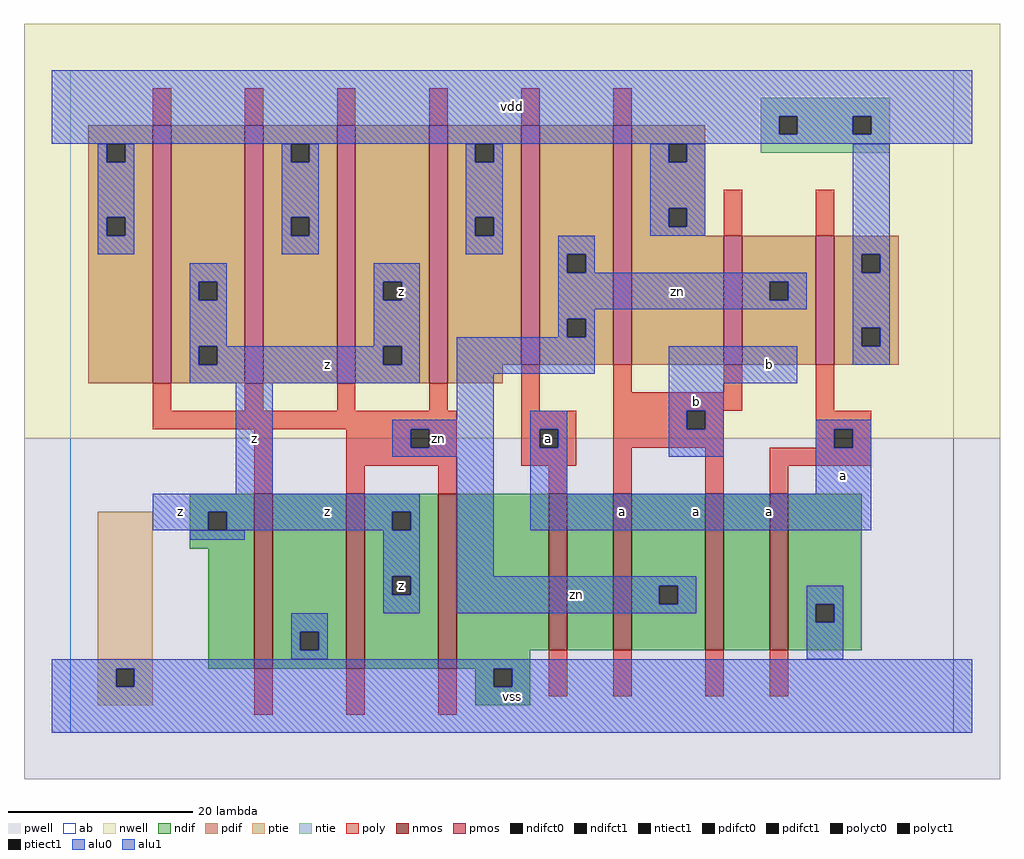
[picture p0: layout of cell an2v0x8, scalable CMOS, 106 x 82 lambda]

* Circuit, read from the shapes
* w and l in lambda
.subckt an2v0x8 a b vdd vss z zn
M1 vss zn z vss nfet w=19 l=2 m=3
M2 n1 a vss vss nfet w=17 l=2
M3 zn b n1 vss nfet w=17 l=2
M4 n2 b zn vss nfet w=17 l=2
M5 vss a n2 vss nfet w=17 l=2
M6 z zn vdd vdd pfet w=28 l=2 m=4
M7 zn a vdd vdd pfet w=26 l=2
M8 vdd b zn vdd pfet w=26 l=2
M9 zn b vdd vdd pfet w=14 l=2
M10 vdd a zn vdd pfet w=14 l=2
.ends

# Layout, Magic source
magic
tech scmos
<< ab >>
rect 0 0 96 72
<< nwell >>
rect -5 32 101 77
<< pwell >>
rect -5 -5 101 32
<< poly >>
rect 9 66 11 70
rect 19 66 21 70
rect 29 66 31 70
rect 39 66 41 70
rect 49 66 51 70
rect 59 66 61 70
rect 71 54 73 59
rect 81 54 83 59
rect 9 35 11 38
rect 19 35 21 38
rect 29 35 31 38
rect 39 35 41 38
rect 49 35 51 40
rect 59 37 61 40
rect 71 37 73 40
rect 59 35 73 37
rect 81 35 83 40
rect 9 33 42 35
rect 20 26 22 33
rect 30 31 37 33
rect 39 31 42 33
rect 30 29 42 31
rect 49 33 55 35
rect 49 31 51 33
rect 53 31 55 33
rect 49 29 55 31
rect 59 33 67 35
rect 69 33 71 35
rect 59 31 71 33
rect 81 33 87 35
rect 81 31 83 33
rect 85 31 87 33
rect 30 26 32 29
rect 40 26 42 29
rect 52 26 54 29
rect 59 26 61 31
rect 69 26 71 31
rect 76 29 87 31
rect 76 26 78 29
rect 20 2 22 7
rect 30 2 32 7
rect 40 2 42 7
rect 52 4 54 9
rect 59 4 61 9
rect 69 4 71 9
rect 76 4 78 9
<< ndif >>
rect 13 24 20 26
rect 13 22 15 24
rect 17 22 20 24
rect 13 20 20 22
rect 15 7 20 20
rect 22 11 30 26
rect 22 9 25 11
rect 27 9 30 11
rect 22 7 30 9
rect 32 24 40 26
rect 32 22 35 24
rect 37 22 40 24
rect 32 17 40 22
rect 32 15 35 17
rect 37 15 40 17
rect 32 7 40 15
rect 42 9 52 26
rect 54 9 59 26
rect 61 16 69 26
rect 61 14 64 16
rect 66 14 69 16
rect 61 9 69 14
rect 71 9 76 26
rect 78 14 86 26
rect 78 12 81 14
rect 83 12 86 14
rect 78 9 86 12
rect 42 7 50 9
rect 44 5 46 7
rect 48 5 50 7
rect 44 3 50 5
<< pdif >>
rect 2 64 9 66
rect 2 62 4 64
rect 6 62 9 64
rect 2 56 9 62
rect 2 54 4 56
rect 6 54 9 56
rect 2 38 9 54
rect 11 49 19 66
rect 11 47 14 49
rect 16 47 19 49
rect 11 42 19 47
rect 11 40 14 42
rect 16 40 19 42
rect 11 38 19 40
rect 21 64 29 66
rect 21 62 24 64
rect 26 62 29 64
rect 21 56 29 62
rect 21 54 24 56
rect 26 54 29 56
rect 21 38 29 54
rect 31 49 39 66
rect 31 47 34 49
rect 36 47 39 49
rect 31 42 39 47
rect 31 40 34 42
rect 36 40 39 42
rect 31 38 39 40
rect 41 64 49 66
rect 41 62 44 64
rect 46 62 49 64
rect 41 56 49 62
rect 41 54 44 56
rect 46 54 49 56
rect 41 40 49 54
rect 51 52 59 66
rect 51 50 54 52
rect 56 50 59 52
rect 51 45 59 50
rect 51 43 54 45
rect 56 43 59 45
rect 51 40 59 43
rect 61 64 69 66
rect 61 62 65 64
rect 67 62 69 64
rect 61 57 69 62
rect 61 55 65 57
rect 67 55 69 57
rect 61 54 69 55
rect 61 40 71 54
rect 73 49 81 54
rect 73 47 76 49
rect 78 47 81 49
rect 73 40 81 47
rect 83 52 90 54
rect 83 50 86 52
rect 88 50 90 52
rect 83 44 90 50
rect 83 42 86 44
rect 88 42 90 44
rect 83 40 90 42
rect 41 38 47 40
<< alu1 >>
rect -2 67 98 72
rect -2 65 77 67
rect 79 65 85 67
rect 87 65 98 67
rect -2 64 98 65
rect 13 49 17 51
rect 13 47 14 49
rect 16 47 17 49
rect 13 42 17 47
rect 33 49 38 51
rect 33 47 34 49
rect 36 47 38 49
rect 33 42 38 47
rect 13 40 14 42
rect 16 40 34 42
rect 36 40 38 42
rect 13 38 38 40
rect 18 26 22 38
rect 65 38 79 42
rect 65 35 71 38
rect 9 24 38 26
rect 9 22 15 24
rect 17 22 35 24
rect 37 22 38 24
rect 34 17 38 22
rect 34 15 35 17
rect 37 15 38 17
rect 34 13 38 15
rect 50 33 54 35
rect 50 31 51 33
rect 53 31 54 33
rect 50 26 54 31
rect 65 33 67 35
rect 69 33 71 35
rect 65 30 71 33
rect 81 33 87 34
rect 81 31 83 33
rect 85 31 87 33
rect 81 26 87 31
rect 50 22 87 26
rect -2 7 98 8
rect -2 5 5 7
rect 7 5 46 7
rect 48 5 98 7
rect -2 0 98 5
<< ptie >>
rect 3 7 9 24
rect 3 5 5 7
rect 7 5 9 7
rect 3 3 9 5
<< ntie >>
rect 75 67 89 69
rect 75 65 77 67
rect 79 65 85 67
rect 87 65 89 67
rect 75 63 89 65
<< nmos >>
rect 20 7 22 26
rect 30 7 32 26
rect 40 7 42 26
rect 52 9 54 26
rect 59 9 61 26
rect 69 9 71 26
rect 76 9 78 26
<< pmos >>
rect 9 38 11 66
rect 19 38 21 66
rect 29 38 31 66
rect 39 38 41 66
rect 49 40 51 66
rect 59 40 61 66
rect 71 40 73 54
rect 81 40 83 54
<< polyct0 >>
rect 37 31 39 33
<< polyct1 >>
rect 51 31 53 33
rect 67 33 69 35
rect 83 31 85 33
<< ndifct0 >>
rect 25 9 27 11
rect 64 14 66 16
rect 81 12 83 14
<< ndifct1 >>
rect 15 22 17 24
rect 35 22 37 24
rect 35 15 37 17
rect 46 5 48 7
<< ntiect1 >>
rect 77 65 79 67
rect 85 65 87 67
<< ptiect1 >>
rect 5 5 7 7
<< pdifct0 >>
rect 4 62 6 64
rect 4 54 6 56
rect 24 62 26 64
rect 24 54 26 56
rect 44 62 46 64
rect 44 54 46 56
rect 54 50 56 52
rect 54 43 56 45
rect 65 62 67 64
rect 65 55 67 57
rect 76 47 78 49
rect 86 50 88 52
rect 86 42 88 44
<< pdifct1 >>
rect 14 47 16 49
rect 14 40 16 42
rect 34 47 36 49
rect 34 40 36 42
<< alu0 >>
rect 3 62 4 64
rect 6 62 7 64
rect 3 56 7 62
rect 3 54 4 56
rect 6 54 7 56
rect 3 52 7 54
rect 23 62 24 64
rect 26 62 27 64
rect 23 56 27 62
rect 23 54 24 56
rect 26 54 27 56
rect 23 52 27 54
rect 43 62 44 64
rect 46 62 47 64
rect 43 56 47 62
rect 43 54 44 56
rect 46 54 47 56
rect 63 62 65 64
rect 67 62 69 64
rect 63 57 69 62
rect 63 55 65 57
rect 67 55 69 57
rect 63 54 69 55
rect 43 52 47 54
rect 53 52 57 54
rect 53 50 54 52
rect 56 50 57 52
rect 85 52 89 64
rect 85 50 86 52
rect 88 50 89 52
rect 53 49 80 50
rect 53 47 76 49
rect 78 47 80 49
rect 53 46 80 47
rect 53 45 57 46
rect 53 43 54 45
rect 56 43 57 45
rect 42 39 57 43
rect 85 44 89 50
rect 85 42 86 44
rect 88 42 89 44
rect 42 34 46 39
rect 85 40 89 42
rect 35 33 46 34
rect 35 31 37 33
rect 39 31 46 33
rect 35 30 46 31
rect 13 21 19 22
rect 42 17 46 30
rect 42 16 68 17
rect 42 14 64 16
rect 66 14 68 16
rect 42 13 68 14
rect 80 14 84 16
rect 24 11 28 13
rect 24 9 25 11
rect 27 9 28 11
rect 24 8 28 9
rect 80 12 81 14
rect 83 12 84 14
rect 80 8 84 12
<< labels >>
rlabel alu0 40 32 40 32 6 zn
rlabel alu0 55 15 55 15 6 zn
rlabel alu0 66 48 66 48 6 zn
rlabel alu1 20 32 20 32 6 z
rlabel alu1 12 24 12 24 6 z
rlabel ndifct1 36 16 36 16 6 z
rlabel alu1 28 24 28 24 6 z
rlabel alu1 28 40 28 40 6 z
rlabel alu1 36 48 36 48 6 z
rlabel alu1 48 4 48 4 6 vss
rlabel polyct1 52 32 52 32 6 a
rlabel alu1 60 24 60 24 6 a
rlabel alu1 68 24 68 24 6 a
rlabel alu1 68 36 68 36 6 b
rlabel alu1 48 68 48 68 6 vdd
rlabel alu1 76 24 76 24 6 a
rlabel alu1 84 28 84 28 6 a
rlabel alu1 76 40 76 40 6 b
<< end >>
